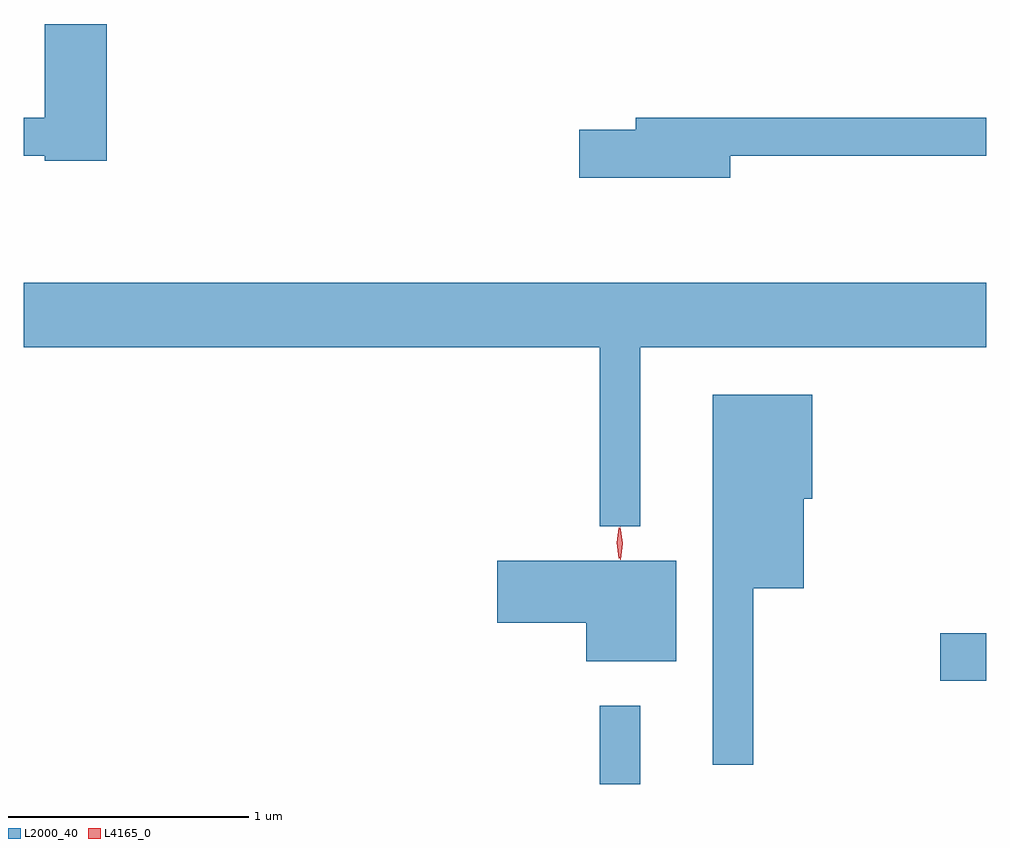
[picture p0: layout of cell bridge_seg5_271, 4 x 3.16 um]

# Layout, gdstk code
import gdstk
lib = gdstk.Library(unit=1e-6, precision=1e-09)
def R(c, l, rs):  # rectangles x0, y0, x1, y1
    for r in rs: c.add(gdstk.rectangle(r[:2], r[2:], *l))
def P(c, l, *ps):  # polygons
    for p in ps: c.add(gdstk.Polygon(p, *l))
L2000_40 = (2000, 40)
L4165_0 = (4165, 0)

bridge_seg5_271 = lib.new_cell('bridge_seg5_271')
R(bridge_seg5_271, L2000_40, [(777.751,1494.942,777.919,1495.268), (779.166,1495.371,779.358,1495.569)])
P(bridge_seg5_271, L2000_40, [(775.704,1498.099),(775.446,1498.099),(775.446,1497.709),(775.358,1497.709),(775.358,1497.551),(775.446,1497.551),(775.446,1497.531),(775.704,1497.531)],
  [(778.294,1497.551),(779.358,1497.551),(779.358,1497.709),(777.901,1497.709),(777.901,1497.659),(777.666,1497.659),(777.666,1497.461),(778.294,1497.461)],
  [(777.919,1496.756),(779.358,1496.756),(779.358,1497.024),(775.358,1497.024),(775.358,1496.756),(777.751,1496.756),(777.751,1496.013),(777.919,1496.013)],
  [(778.389,1495.756),(778.599,1495.756),(778.599,1496.126),(778.634,1496.126),(778.634,1496.559),(778.221,1496.559),(778.221,1495.023),(778.389,1495.023)],
  [(778.069,1495.869),(777.326,1495.869),(777.326,1495.611),(777.696,1495.611),(777.696,1495.451),(778.069,1495.451)])
P(bridge_seg5_271, L4165_0, [(777.831,1495.88),(777.822,1495.944),(777.831,1496.006),(777.832,1496.007),(777.832,1496.006),(777.842,1495.944),(777.832,1495.88),(777.832,1495.88)],
  [(777.837,1495.874),(777.837,1495.874),(777.827,1495.942),(777.836,1496.01),(777.837,1496.01),(777.837,1496.01),(777.847,1495.942),(777.838,1495.874)])

lib.write_gds('bridge_seg5_271.gds')
